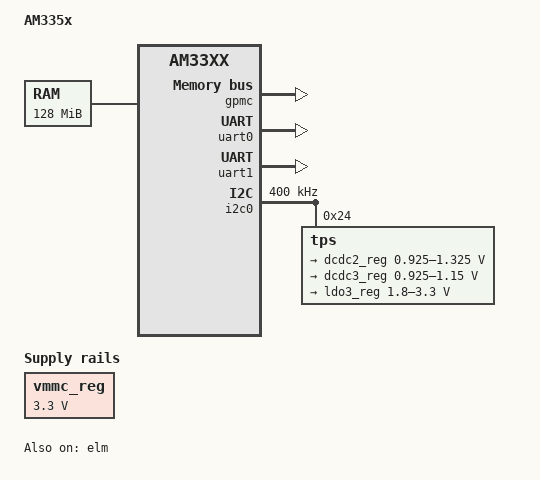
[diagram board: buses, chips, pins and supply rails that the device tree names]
/*
 * Copyright (C) 2012 Texas Instruments Incorporated - http://www.ti.com/
 *
 * This program is free software; you can redistribute it and/or modify
 * it under the terms of the GNU General Public License version 2 as
 * published by the Free Software Foundation.
 */

#include "am33xx.dtsi"
#include <dt-bindings/interrupt-controller/irq.h>

/ {
	model = "AM335x";
	compatible = "ti,am335x-bone", "ti,am33xx";

	cpus {
		cpu@0 {
			cpu0-supply = <&dcdc3_reg>;
		};
	};

	memory {
		device_type = "memory";
		reg = <0x80000000 0x8000000>; /* 128 MB */
	};

        vmmc_reg: fixedregulator@0 {
		compatible = "regulator-fixed";
		regulator-name = "vmmc";
	        regulator-min-microvolt = <3300000>;
	        regulator-max-microvolt = <3300000>;
		regulator-boot-on;
	        regulator-always-on;
	};
};


&am33xx_pinmux {
        pinctrl-names = "default";

        i2c0_pins: pinmux_i2c0_pins {
            pinctrl-single,pins = <
                0x188 (PIN_INPUT | PIN_OUTPUT | PIN_INPUT_PULLUP | MUX_MODE0)	/* i2c0_sda.i2c0_sda */
                0x18c (PIN_INPUT | PIN_OUTPUT | PIN_INPUT_PULLUP | MUX_MODE0)	/* i2c0_scl.i2c0_scl */
            >;
        };

        davinci_mdio_default: davinci_mdio_default {
            pinctrl-single,pins = <
                /* MDIO */
                0x148 (PIN_INPUT_PULLUP | INPUT_EN | SLEWCTRL_FAST | MUX_MODE0)	/* mdio_data.mdio_data */
                0x14c (PIN_OUTPUT_PULLUP | MUX_MODE0)			/* mdio_clk.mdio_clk */
            >;
        };

        davinci_mdio_sleep: davinci_mdio_sleep {
            pinctrl-single,pins = <
                /* MDIO reset value */
                0x148 (PIN_INPUT_PULLDOWN | MUX_MODE7)
                0x14c (PIN_INPUT_PULLDOWN | MUX_MODE7)
            >;
        };

        nandflash_pins_s0: nandflash_pins_s0 {
            pinctrl-single,pins = <
                0x0 (PIN_INPUT_PULLUP | MUX_MODE0)      /* gpmc_ad0.gpmc_ad0 */
                0x4 (PIN_INPUT_PULLUP | MUX_MODE0)      /* gpmc_ad1.gpmc_ad1 */
                0x8 (PIN_INPUT_PULLUP | MUX_MODE0)      /* gpmc_ad2.gpmc_ad2 */
                0xc (PIN_INPUT_PULLUP | MUX_MODE0)      /* gpmc_ad3.gpmc_ad3 */
                0x10 (PIN_INPUT_PULLUP | MUX_MODE0)     /* gpmc_ad4.gpmc_ad4 */
                0x14 (PIN_INPUT_PULLUP | MUX_MODE0)     /* gpmc_ad5.gpmc_ad5 */
                0x18 (PIN_INPUT_PULLUP | MUX_MODE0)     /* gpmc_ad6.gpmc_ad6 */
                0x1c (PIN_INPUT_PULLUP | MUX_MODE0)     /* gpmc_ad7.gpmc_ad7 */
                0x70 (PIN_INPUT_PULLUP | MUX_MODE0)     /* gpmc_wait0.gpmc_wait0 */
                0x74 (PIN_INPUT_PULLUP | MUX_MODE7)     /* gpmc_wpn.gpio0_30 */
                0x7c (PIN_OUTPUT | MUX_MODE0)           /* gpmc_csn0.gpmc_csn0  */
                0x90 (PIN_OUTPUT | MUX_MODE0)           /* gpmc_advn_ale.gpmc_advn_ale */
                0x94 (PIN_OUTPUT | MUX_MODE0)           /* gpmc_oen_ren.gpmc_oen_ren */
                0x98 (PIN_OUTPUT | MUX_MODE0)           /* gpmc_wen.gpmc_wen */
                0x9c (PIN_OUTPUT | MUX_MODE0)           /* gpmc_be0n_cle.gpmc_be0n_cle */
            >;
        };

        uart0_pins: pinmux_uart0_pins {
            pinctrl-single,pins = <
                0x170 (PIN_INPUT_PULLUP | MUX_MODE0)	/* uart0_rxd.uart0_rxd */
                0x174 (PIN_OUTPUT_PULLDOWN | MUX_MODE0)	/* uart0_txd.uart0_txd */
            >;
        };

        uart1_pins: uart1_pins {
            pinctrl-single,pins = <
                0x180 (PIN_INPUT_PULLUP | MUX_MODE0)    /* uart1_rxd.uart1_rxd */
                0x184 (PIN_OUTPUT | MUX_MODE0)          /* uart1_txd.uart1_txd */
            >;
		};
};

&gpmc {
        status = "okay";     
};

&uart0 {
	pinctrl-names = "default";
	pinctrl-0 = <&uart0_pins>;
	status = "okay";
};

&uart1 {
        pinctrl-names = "default";
        pinctrl-0 = <&uart1_pins>;
        status = "okay";
};

&i2c0 {
    pinctrl-names = "default";
    pinctrl-0 = <&i2c0_pins>;

    status = "okay";
    clock-frequency = <400000>;

    tps: tps@24 {
		reg = <0x24>;
    };
};

/include/ "tps65217.dtsi"

&tps {
	regulators {
		dcdc1_reg: regulator@0 {
			regulator-always-on;
		};

		dcdc2_reg: regulator@1 {
			/* VDD_MPU voltage limits 0.95V - 1.26V with +/-4% tolerance */
			regulator-name = "vdd_mpu";
			regulator-min-microvolt = <925000>;
			regulator-max-microvolt = <1325000>;
			regulator-boot-on;
			regulator-always-on;
		};

		dcdc3_reg: regulator@2 {
			/* VDD_CORE voltage limits 0.95V - 1.1V with +/-4% tolerance */
			regulator-name = "vdd_core";
			regulator-min-microvolt = <925000>;
			regulator-max-microvolt = <1150000>;
			regulator-boot-on;
			regulator-always-on;
		};

		ldo1_reg: regulator@3 {
			regulator-always-on;
		};

		ldo2_reg: regulator@4 {
			regulator-always-on;
		};

		ldo3_reg: regulator@5 {
			regulator-min-microvolt = <1800000>;
			regulator-max-microvolt = <3300000>;
			regulator-always-on;
		};

		ldo4_reg: regulator@6 {
			regulator-always-on;
		};
	};
};

&elm {
    	status = "okay";
};


/*
/ {

	pps {
            	pinctrl-names = "default";
            	pinctrl-0 = <&gpio4_pins>;
	    	compatible = "pps-gpio";
	    	gpios = <&gpio0 12 0>;
	    	assert-falling-edge;
	};
};

&cppi41dma  {
        status = "okay";
};

&sham {
        status = "okay";
};

&aes {
        status = "okay";
};
*/
